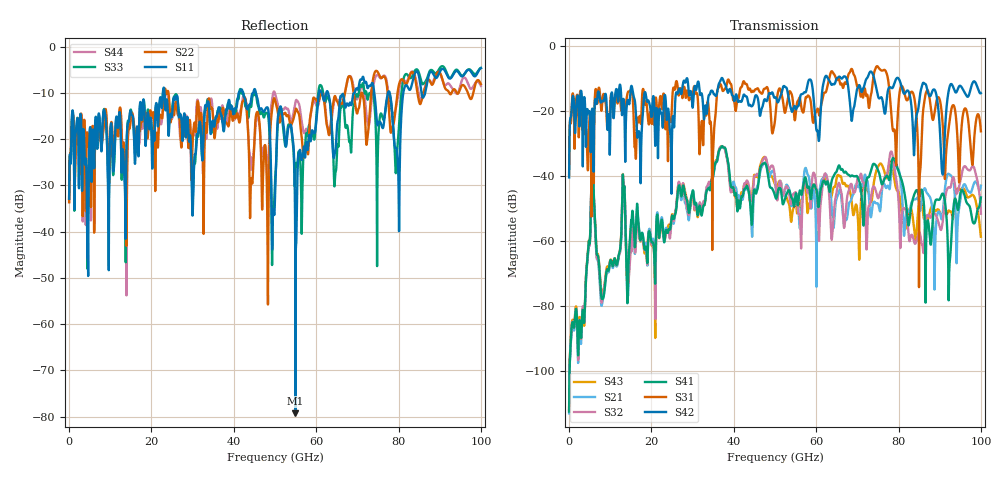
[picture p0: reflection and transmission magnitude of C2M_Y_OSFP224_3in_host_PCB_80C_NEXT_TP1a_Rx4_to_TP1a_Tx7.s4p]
# GHz S RI R 45
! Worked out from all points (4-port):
!   4000 points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, 25 MHz to 100 GHz, reference 45 ohm
!   strongest paths, dB at 25 MHz, 25.02 GHz, 50.02 GHz, 75.03 GHz, 100 GHz:
!     S42: -40.5, -26.4, -15.9, -15.6, -14.6
!     S31: -39.6, -17.2, -22.8, -6.5, -26.3
!     S41: -112.4, -52.2, -46.2, -38.3, -46.6
!     S32: -112.1, -52.7, -40.6, -46.8, -51.6
!     S21: -112.9, -52.7, -41.4, -48.6, -43.0
!     S43: -111.7, -51.9, -42.6, -37.1, -58.7
!   lowest |S11| = -79.3 dB at 54.98 GHz (marker M1), VSWR 1.00, Z = 45 - j0.00893 ohm
!   |S11| at or under -10 dB: start of sweep to 22.8 GHz; 23.18 GHz to 41.21 GHz (18.03 GHz wide, 56 % of centre); 45.36 GHz to 60.69 GHz (15.32 GHz wide, 28.9 % of centre) (the widest 3 of 9)
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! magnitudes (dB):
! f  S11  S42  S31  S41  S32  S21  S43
! 25 MHz  -32.9  -40.5  -39.6  -112.4  -112.1  -112.9  -111.7
! 5.75 GHz  -18.6  -20.0  -20.8  -37.3  -37.4  -37.5  -37.2
! 8.1 GHz  -18.1  -16.9  -17.0  -77.8  -77.7  -78.8  -75.6
! 13.22 GHz  -23.9  -16.4  -17.2  -43.4  -43.5  -43.6  -43.3
! 37 GHz  -15.0  -10.1  -12.5  -31.0  -31.1  -31.2  -30.9
! 54.98 GHz  -79.3  -19.1  -21.8  -46.0  -45.0  -46.0  -47.5
! 100 GHz  -4.7  -14.6  -26.3  -46.6  -51.6  -43.0  -58.7
